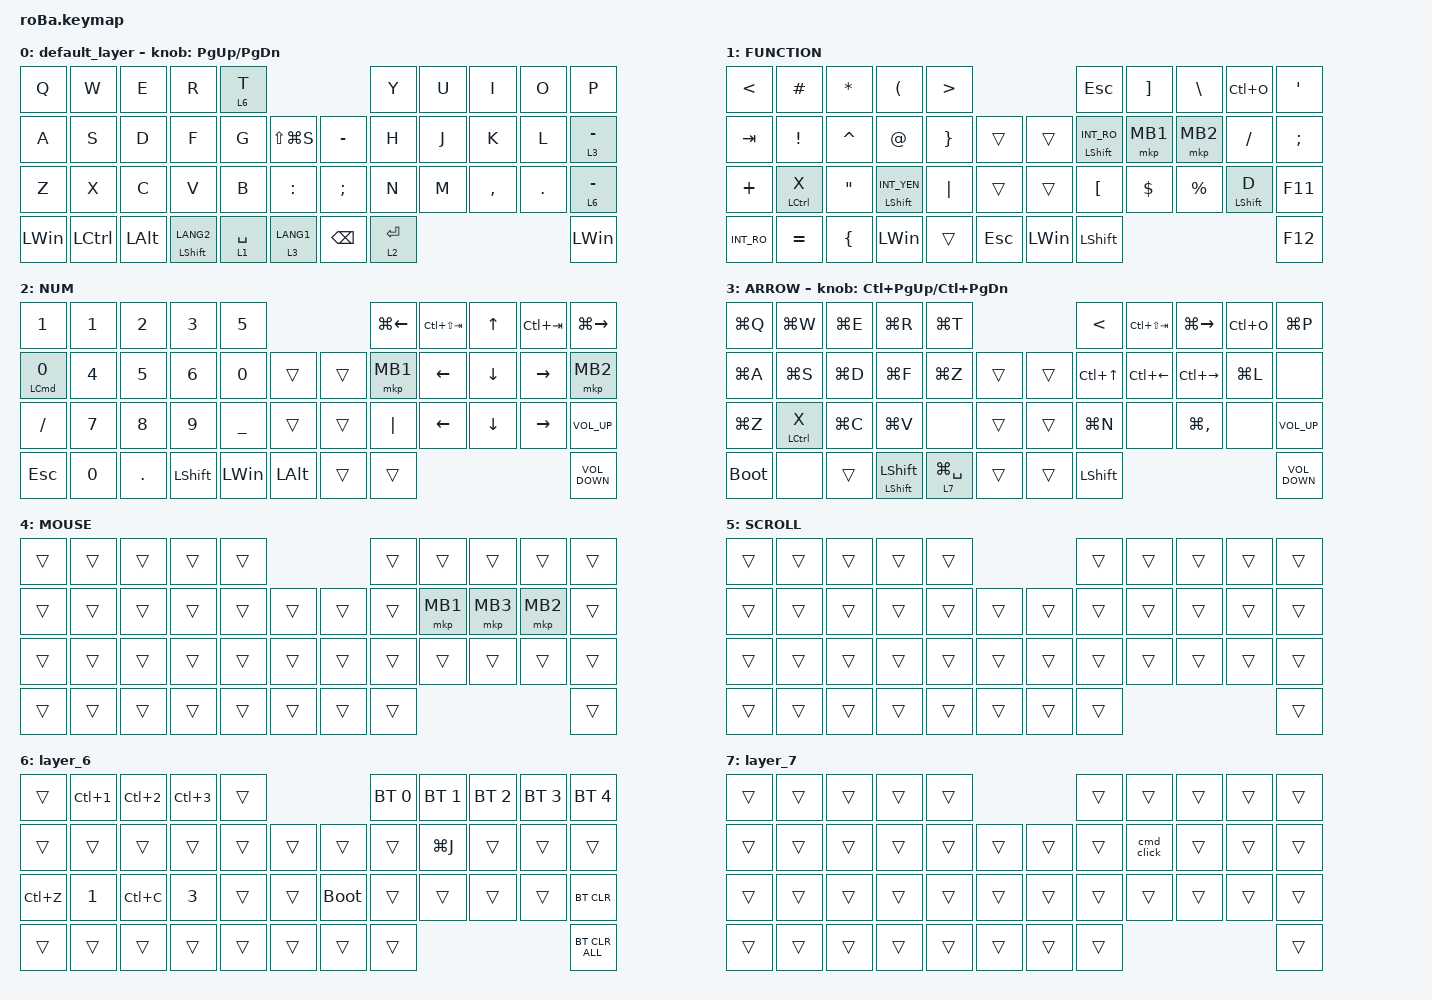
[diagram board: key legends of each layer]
#include <input/processors.dtsi>
#include <behaviors.dtsi>
#include <dt-bindings/zmk/bt.h>
#include <dt-bindings/zmk/keys.h>
#include <dt-bindings/zmk/pointing.h>

&mt {
    flavor = "balanced";
    quick-tap-ms = <0>;
};

&trackball {
    automouse-layer = <5>;

    // arrows {
    //     layers = <3>;
    //     bindings =
    //         <&kp RIGHT_ARROW>,
    //         <&kp LEFT_ARROW>,
    //         <&kp UP_ARROW>,
    //         <&kp DOWN_ARROW>;
    //     tick = <10>;
    //     wait-ms = <5>;
    //     tap-ms = <5>;
    // };
};

/ {
    combos {
        compatible = "zmk,combos";

        tab {
            bindings = <&kp TAB>;
            key-positions = <11 12>;
        };

        shift_tab {
            bindings = <&kp LS(TAB)>;
            key-positions = <12 13>;
        };

        muhennkann {
            bindings = <&to_layer_0 LANG2>;
            key-positions = <11 10>;
        };

        double_quotation {
            bindings = <&kp DOUBLE_QUOTES>;
            key-positions = <20 21>;
        };

        eq {
            bindings = <&kp EQUAL>;
            key-positions = <24 25>;
        };
    };

    macros {
        to_layer_0: to_layer_0 {
            compatible = "zmk,behavior-macro-one-param";
            #binding-cells = <1>;
            bindings = <&to 0 &macro_param_1to1 &kp MACRO_PLACEHOLDER>;
            label = "TO_LAYER_0";
        };

        cmd_click: cmd_click {
            compatible = "zmk,behavior-macro";
            #binding-cells = <0>;
            bindings =
                <&macro_press>,
                <&kp LEFT_GUI>,
                <&macro_press>,
                <&mkp MB1>,
                <&macro_release>,
                <&mkp MB1>,
                <&macro_release>,
                <&kp LEFT_GUI>;

            label = "CMD_CLICK";
        };
    };

    behaviors {
        lt_to_layer_0: lt_to_layer_0 {
            compatible = "zmk,behavior-hold-tap";
            label = "LAYER_TAP_TO_0";
            bindings = <&mo>, <&to_layer_0>;

            #binding-cells = <2>;
            tapping-term-ms = <200>;
        };
    };

    keymap {
        compatible = "zmk,keymap";

        default_layer {
            bindings = <
&kp Q         &kp W             &kp E         &kp R                 &lt 6 T                                        &kp Y        &kp U  &kp I      &kp O    &kp P
&kp A         &kp S             &kp D         &kp F                 &kp G        &kp LS(LG(S))      &kp MINUS      &kp H        &kp J  &kp K      &kp L    &lt 3 MINUS
&kp Z         &kp X             &kp C         &kp V                 &kp B        &kp COLON          &kp SEMICOLON  &kp N        &kp M  &kp COMMA  &kp DOT  &lt 6 MINUS
&kp LEFT_WIN  &kp LEFT_CONTROL  &kp LEFT_ALT  &mt LEFT_SHIFT LANG2  &lt 1 SPACE  &lt 3 LANG1        &kp BACKSPACE  &lt 2 ENTER                             &kp LEFT_WIN
            >;

            sensor-bindings = <&inc_dec_kp PG_UP PAGE_DOWN>;
        };

        FUNCTION {
            bindings = <
&kp LESS_THAN  &kp HASH            &kp ASTERISK       &kp LEFT_PARENTHESIS    &kp GREATER_THAN                                &kp ESCAPE             &kp RIGHT_BRACKET  &kp BACKSLASH  &kp LC(O)         &kp SINGLE_QUOTE
&kp TAB        &kp EXCLAMATION     &kp CARET          &kp AT_SIGN             &kp RIGHT_BRACE   &trans          &trans        &mt LEFT_SHIFT INT_RO  &mkp MB1           &mkp MB2       &kp SLASH         &kp SEMICOLON
&kp PLUS       &mt LEFT_CONTROL X  &kp DOUBLE_QUOTES  &mt LEFT_SHIFT INT_YEN  &kp PIPE          &trans          &trans        &kp LEFT_BRACKET       &kp DOLLAR         &kp PERCENT    &mt LEFT_SHIFT D  &kp F11
&kp INT_RO     &kp EQUAL           &kp LEFT_BRACE     &kp LEFT_WIN            &trans            &kp ESCAPE      &kp LEFT_WIN  &kp LEFT_SHIFT                                                             &kp F12
            >;
        };

        NUM {
            bindings = <
&kp NUMBER_1               &kp NUMBER_1  &kp NUMBER_2  &kp NUMBER_3    &kp NUMBER_5                              &kp LG(LEFT_ARROW)  &kp LC(LS(TAB))  &kp UP_ARROW    &kp LC(TAB)      &kp LG(RIGHT_ARROW)
&mt LEFT_COMMAND NUMBER_0  &kp NUMBER_4  &kp N5        &kp NUMBER_6    &kp NUMBER_0    &trans            &trans  &mkp MB1            &kp LEFT_ARROW   &kp DOWN_ARROW  &kp RIGHT_ARROW  &mkp MB2
&kp SLASH                  &kp N7        &kp N8        &kp N9          &kp UNDERSCORE  &trans            &trans  &kp PIPE            &kp LEFT_ARROW   &kp DOWN_ARROW  &kp RIGHT_ARROW  &kp C_VOLUME_UP
&kp ESCAPE                 &kp NUMBER_0  &kp DOT       &kp LEFT_SHIFT  &kp LEFT_WIN    &kp LEFT_ALT      &trans  &trans                                                                &kp C_VOLUME_DOWN
            >;
        };

        ARROW {
            bindings = <
&kp LG(Q)    &kp LG(W)           &kp LG(E)  &kp LG(R)                  &kp LG(T)                            &kp LESS_THAN     &kp LC(LS(TAB))  &kp LG(RIGHT_ARROW)  &kp LC(O)  &kp LG(P)
&kp LG(A)    &kp LG(S)           &kp LG(D)  &kp LG(F)                  &kp LG(Z)        &trans      &trans  &kp LC(UP_ARROW)  &kp LC(LEFT)     &kp LC(RIGHT_ARROW)  &kp LG(L)  &none
&kp LG(Z)    &mt LEFT_CONTROL X  &kp LG(C)  &kp LG(V)                  &none            &trans      &trans  &kp LG(N)         &none            &kp LG(COMMA)        &none      &kp C_VOLUME_UP
&bootloader  &none               &trans     &mt LEFT_SHIFT LEFT_SHIFT  &lt 7 LG(SPACE)  &trans      &trans  &kp LEFT_SHIFT                                                     &kp C_VOLUME_DOWN
            >;

            sensor-bindings = <&inc_dec_kp LC(PAGE_UP) LC(PAGE_DOWN)>;
        };

        MOUSE {
            bindings = <
&trans  &trans  &trans  &trans  &trans                      &trans  &trans    &trans    &trans    &trans
&trans  &trans  &trans  &trans  &trans  &trans      &trans  &trans  &mkp MB1  &mkp MB3  &mkp MB2  &trans
&trans  &trans  &trans  &trans  &trans  &trans      &trans  &trans  &trans    &trans    &trans    &trans
&trans  &trans  &trans  &trans  &trans  &trans      &trans  &trans                                &trans
            >;
        };

        SCROLL {
            bindings = <
&trans  &trans  &trans  &trans  &trans                      &trans  &trans  &trans  &trans  &trans
&trans  &trans  &trans  &trans  &trans  &trans      &trans  &trans  &trans  &trans  &trans  &trans
&trans  &trans  &trans  &trans  &trans  &trans      &trans  &trans  &trans  &trans  &trans  &trans
&trans  &trans  &trans  &trans  &trans  &trans      &trans  &trans                          &trans
            >;
        };

        layer_6 {
            bindings = <
&trans     &kp LC(NUMBER_1)  &kp LC(NUMBER_2)  &kp LC(NUMBER_3)  &trans                           &bt BT_SEL 0  &bt BT_SEL 1  &bt BT_SEL 2  &bt BT_SEL 3  &bt BT_SEL 4
&trans     &trans            &trans            &trans            &trans  &trans      &trans       &trans        &kp LG(J)     &trans        &trans        &trans
&kp LC(Z)  &kp NUMBER_1      &kp LC(C)         &kp NUMBER_3      &trans  &trans      &bootloader  &trans        &trans        &trans        &trans        &bt BT_CLR
&trans     &trans            &trans            &trans            &trans  &trans      &trans       &trans                                                  &bt BT_CLR_ALL
            >;
        };

        layer_7 {
            bindings = <
&trans  &trans  &trans  &trans  &trans                      &trans  &trans      &trans  &trans  &trans
&trans  &trans  &trans  &trans  &trans  &trans      &trans  &trans  &cmd_click  &trans  &trans  &trans
&trans  &trans  &trans  &trans  &trans  &trans      &trans  &trans  &trans      &trans  &trans  &trans
&trans  &trans  &trans  &trans  &trans  &trans      &trans  &trans                              &trans
            >;
        };
    };
};
